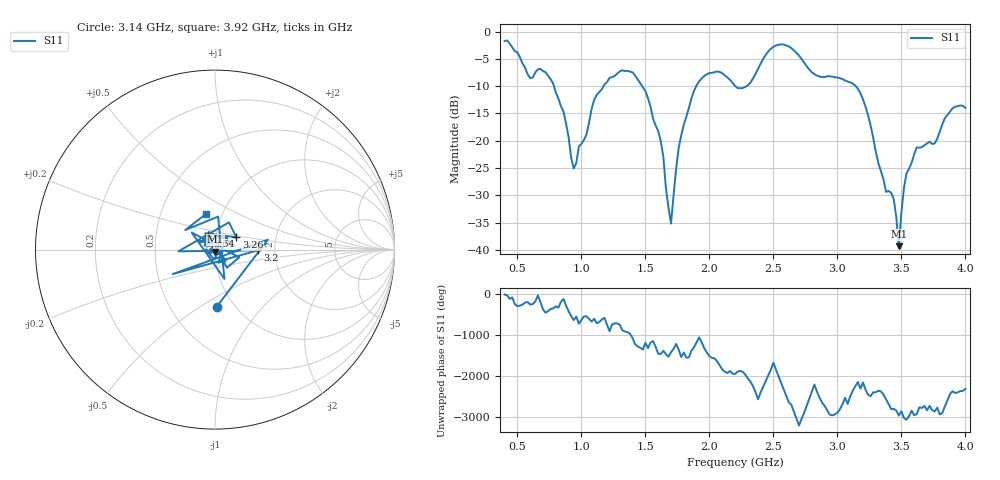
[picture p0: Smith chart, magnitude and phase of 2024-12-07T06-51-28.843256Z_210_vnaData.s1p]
!Created with skrf (http://scikit-rf.org).
# Hz S RI R 50.0
!freq ReS11 ImS11
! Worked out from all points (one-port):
!   181 points, 400 MHz to 4 GHz, reference 50 ohm
!   lowest |S11| = -39.3 dB at 3.48 GHz (marker M1), VSWR 1.02, Z = 50.1 - j1.08 ohm
!   |S11| at or under -10 dB: 785.6 MHz to 1.173 GHz (387.2 MHz wide, 39.5 % of centre); 1.474 GHz to 1.897 GHz (422.6 MHz wide, 25.1 % of centre); 3.143 GHz to end of sweep (the widest 3 of 4)
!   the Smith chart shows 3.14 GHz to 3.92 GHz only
!   S11 on the Smith chart (normalised r, x): 3.14 GHz: 0.83, -0.59; 3.2 GHz: 1.63, -0.02; 3.26 GHz: 1.26, +0.18; 3.64 GHz: 0.92, +0.14; 3.92 GHz: 0.84, +0.35
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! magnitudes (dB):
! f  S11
! 400 MHz  -1.7
! 600 MHz  -8.5
! 720 MHz  -7.4
! 860 MHz  -14.7
! 940 MHz  -25.1
! 1.1 GHz  -12.5
! 1.3 GHz  -7.3
! 1.52 GHz  -12.2
! 1.62 GHz  -20.1
! 1.7 GHz  -35.2
! 1.76 GHz  -21.3
! 1.94 GHz  -8.6
! 2.2 GHz  -10.0
! 2.5 GHz  -2.8
! 2.66 GHz  -3.4
! 3.1 GHz  -9.3
! 3.14 GHz  -9.9
! 3.2 GHz  -12.4
! 3.26 GHz  -17.3
! 3.38 GHz  -29.4
! 3.44 GHz  -30.7
! 3.48 GHz  -39.3
! 3.52 GHz  -28.6
! 3.56 GHz  -25.1
! 3.64 GHz  -21.3
! 3.76 GHz  -20.5
! 3.92 GHz  -13.8
! 4 GHz  -14.0
